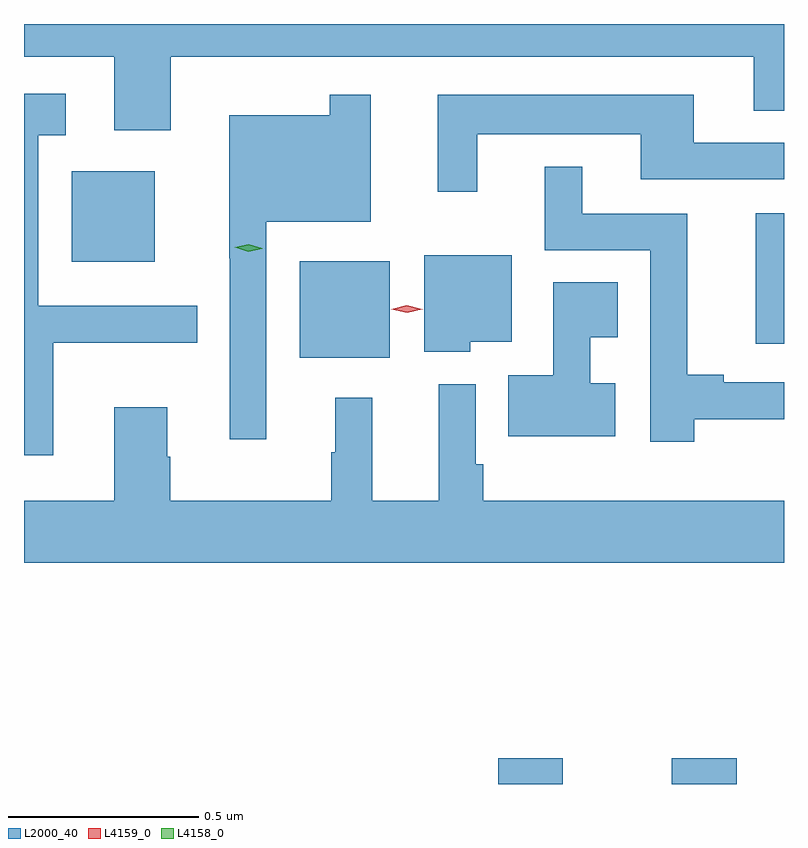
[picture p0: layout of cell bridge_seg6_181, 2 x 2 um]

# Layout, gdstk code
import gdstk
lib = gdstk.Library(unit=1e-6, precision=1e-09)
def R(c, l, rs):  # rectangles x0, y0, x1, y1
    for r in rs: c.add(gdstk.rectangle(r[:2], r[2:], *l))
def P(c, l, *ps):  # polygons
    for p in ps: c.add(gdstk.Polygon(p, *l))
L2000_40 = (2000, 40)
L4158_0 = (4158, 0)
L4159_0 = (4159, 0)

bridge_seg6_181 = lib.new_cell('bridge_seg6_181')
R(bridge_seg6_181, L2000_40, [(233.708,952.082,233.878,952.15), (234.164,952.082,234.335,952.15), (233.186,953.204,233.422,953.458), (234.386,953.24,234.46,953.584), (232.586,953.456,232.804,953.695)])
P(bridge_seg6_181, L2000_40, [(232.846,953.996),(234.38,953.996),(234.38,953.854),(234.46,953.854),(234.46,954.082),(232.46,954.082),(232.46,953.996),(232.697,953.996),(232.697,953.802),(232.846,953.802)],
  [(232.537,953.243),(232.916,953.243),(232.916,953.34),(232.497,953.34),(232.497,953.789),(232.57,953.789),(232.57,953.899),(232.46,953.899),(232.46,952.947),(232.537,952.947)],
  [(233.653,953.792),(234.083,953.792),(234.083,953.673),(234.46,953.673),(234.46,953.769),(234.223,953.769),(234.223,953.896),(233.549,953.896),(233.549,953.64),(233.653,953.64)],
  [(233.097,953.561),(233.373,953.561),(233.373,953.896),(233.265,953.896),(233.265,953.842),(233,953.842),(233,953.465),(233.001,953.465),(233.001,952.989),(233.097,952.989)],
  [(234.224,953.042),(234.46,953.042),(234.46,953.139),(234.301,953.139),(234.301,953.159),(234.206,953.159),(234.206,953.583),(233.929,953.583),(233.929,953.707),(233.831,953.707),(233.831,953.487),(234.108,953.487),(234.108,952.983),(234.224,952.983)],
  [(233.634,953.246),(233.743,953.246),(233.743,953.473),(233.513,953.473),(233.513,953.219),(233.634,953.219)],
  [(234.016,953.137),(233.95,953.137),(233.95,953.258),(234.023,953.258),(234.023,953.402),(233.853,953.402),(233.853,953.158),(233.734,953.158),(233.734,952.997),(234.016,952.997)],
  [(234.46,952.828),(233.669,952.828),(233.669,952.924),(233.649,952.924),(233.649,953.134),(233.552,953.134),(233.552,952.828),(233.377,952.828),(233.377,953.098),(233.279,953.098),(233.279,952.955),(233.268,952.955),(233.268,952.828),(232.845,952.828),(232.845,952.943),(232.837,952.943),(232.837,953.074),(232.697,953.074),(232.697,952.828),(232.46,952.828),(232.46,952.664),(234.46,952.664)])
P(bridge_seg6_181, L4158_0, [(233.05,953.483),(233.015,953.494),(233.015,953.494),(233.015,953.494),(233.051,953.503),(233.087,953.492),(233.087,953.491),(233.087,953.491)])
P(bridge_seg6_181, L4159_0, [(233.468,953.322),(233.427,953.331),(233.427,953.331),(233.427,953.332),(233.467,953.342),(233.508,953.332),(233.509,953.332),(233.508,953.332)])

lib.write_gds('bridge_seg6_181.gds')
